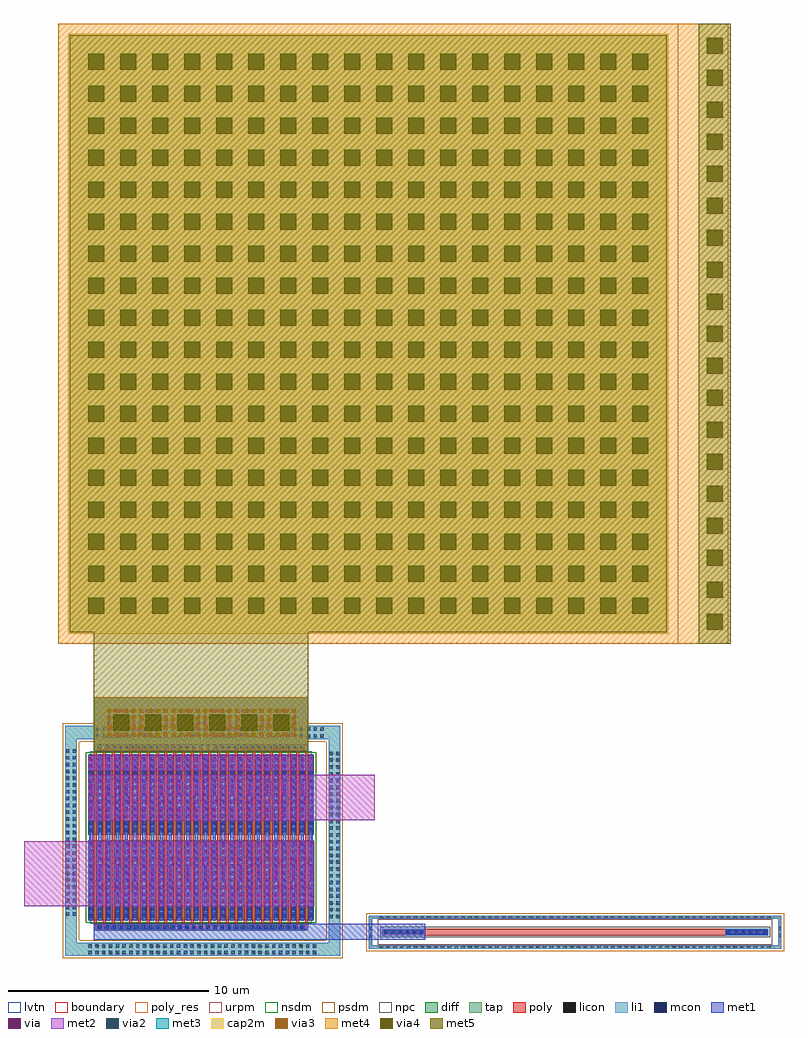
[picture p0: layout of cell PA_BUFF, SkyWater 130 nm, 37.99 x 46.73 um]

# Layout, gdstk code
from math import pi, radians
import gdstk
lib = gdstk.Library(unit=1e-6, precision=1e-09)
def R(c, l, rs):  # rectangles x0, y0, x1, y1
    for r in rs: c.add(gdstk.rectangle(r[:2], r[2:], *l))
def A(c, l, x, y, w, h, nx, ny, dx, dy):  # array of equal rectangles
    R(c, l, [(x+i*dx, y+j*dy, x+i*dx+w, y+j*dy+h) for i in range(nx) for j in range(ny)])
diff = (65, 20)
tap = (65, 44)
poly_res = (66, 13)
poly = (66, 20)
licon = (66, 44)
li1 = (67, 20)
mcon = (67, 44)
met1 = (68, 20)
via = (68, 44)
met2 = (69, 20)
via2 = (69, 44)
met3 = (70, 20)
via3 = (70, 44)
met4 = (71, 20)
via4 = (71, 44)
met5 = (72, 20)
urpm = (79, 20)
nsdm = (93, 44)
psdm = (94, 20)
npc = (95, 20)
cap2m = (97, 44)
lvtn = (125, 44)
boundary = (235, 4)

sky130_fd_pr__res_xhigh_ = lib.new_cell('sky130_fd_pr__res_xhigh_po_0p35_9FS993')
R(sky130_fd_pr__res_xhigh_, tap, [(-0.825,-10.31,0.825,-10.14), (-0.825,-10.14,-0.655,10.14), (0.655,-10.14,0.825,10.14), (-0.825,10.14,0.825,10.31)])
R(sky130_fd_pr__res_xhigh_, poly_res, [(-0.175,-7.56,0.175,7.56)])
R(sky130_fd_pr__res_xhigh_, poly, [(-0.175,-9.66,0.175,9.66)])
A(sky130_fd_pr__res_xhigh_, licon, -0.825, -9.775, 0.17, 0.17, 1, 58, 0, 0.34)
A(sky130_fd_pr__res_xhigh_, licon, 0.655, -9.775, 0.17, 0.17, 1, 58, 0, 0.34)
R(sky130_fd_pr__res_xhigh_, licon, [(-0.255,-10.31,-0.085,-10.14), (0.085,-10.31,0.255,-10.14), (-0.095,-9.58,0.095,-7.58), (-0.095,7.58,0.095,9.58), (-0.255,10.14,-0.085,10.31), (0.085,10.14,0.255,10.31)])
R(sky130_fd_pr__res_xhigh_, li1, [(-0.825,-10.31,0.825,-10.14), (-0.825,-10.14,-0.655,10.14), (0.655,-10.14,0.825,10.14), (-0.175,-9.66,0.175,-7.5), (-0.175,7.5,0.175,9.66), (-0.825,10.14,0.825,10.31)])
A(sky130_fd_pr__res_xhigh_, mcon, -0.085, -9.565, 0.17, 0.17, 1, 6, 0, 0.36)
A(sky130_fd_pr__res_xhigh_, mcon, -0.085, 7.59, 0.17, 0.17, 1, 6, 0, 0.36)
R(sky130_fd_pr__res_xhigh_, met1, [(-0.125,-9.63,0.125,-7.525), (-0.125,7.525,0.125,9.63)])
R(sky130_fd_pr__res_xhigh_, urpm, [(-0.635,-9.86,0.635,9.86)])
R(sky130_fd_pr__res_xhigh_, psdm, [(-0.95,-10.435,0.95,10.435)])
R(sky130_fd_pr__res_xhigh_, npc, [(-0.27,-9.755,0.27,9.755)])
R(sky130_fd_pr__res_xhigh_, boundary, [(-0.74,-10.225,0.74,10.225)])

sky130_fd_pr__nfet_01v8_ = lib.new_cell('sky130_fd_pr__nfet_01v8_lvt_BG9PLE')
R(sky130_fd_pr__nfet_01v8_, diff, [(-0.365,-2,0.365,2)])
R(sky130_fd_pr__nfet_01v8_, poly, [(-0.075,-2.13,0.075,2.13)])
A(sky130_fd_pr__nfet_01v8_, licon, -0.305, -1.785, 0.17, 0.17, 1, 11, 0, 0.34)
A(sky130_fd_pr__nfet_01v8_, licon, 0.135, -1.785, 0.17, 0.17, 1, 11, 0, 0.34)
R(sky130_fd_pr__nfet_01v8_, li1, [(-0.305,-2.02,-0.135,2.02), (0.135,-2.02,0.305,2.02)])
A(sky130_fd_pr__nfet_01v8_, mcon, -0.305, -1.885, 0.17, 0.17, 1, 11, 0, 0.36)
A(sky130_fd_pr__nfet_01v8_, mcon, 0.135, -1.885, 0.17, 0.17, 1, 11, 0, 0.36)
R(sky130_fd_pr__nfet_01v8_, met1, [(-0.335,-2,-0.105,2), (0.105,-2,0.335,2)])
R(sky130_fd_pr__nfet_01v8_, nsdm, [(-0.49,-2.125,0.49,2.125)])
R(sky130_fd_pr__nfet_01v8_, lvtn, [(-0.255,-2.18,0.255,2.18)])

sky130_fd_pr__cap_mim_m3 = lib.new_cell('sky130_fd_pr__cap_mim_m3_2_LJ5JLG')
R(sky130_fd_pr__cap_mim_m3, met4, [(-16.755,-15.5,16.755,15.5)])
A(sky130_fd_pr__cap_mim_m3, via4, 15.665, -14.8, 0.8, 0.8, 1, 19, 0, 1.6)
A(sky130_fd_pr__cap_mim_m3, via4, -15.255, -14, 0.8, 0.8, 18, 18, 1.6, 1.6)
R(sky130_fd_pr__cap_mim_m3, met5, [(15.265,-15.505,16.865,15.505), (-16.175,-14.92,13.665,14.92)])
R(sky130_fd_pr__cap_mim_m3, cap2m, [(-16.255,-15,13.745,15)])
R(sky130_fd_pr__cap_mim_m3, boundary, [(-16.755,-15.5,14.245,15.5)])

pa_buff = lib.new_cell('PA_BUFF')
R(pa_buff, diff, [(0,-4.14,11.285,-0.14)])
R(pa_buff, tap, [(-1.145,-5.93,12.6,-5.26), (-1.145,-5.26,-0.575,4.91), (12.03,-5.26,12.6,4.91), (-1.145,4.91,12.6,5.58)])
A(pa_buff, poly, 0.73, -4.33, 0.15, 4.46, 24, 1, 0.44, 0)
A(pa_buff, poly, 0.73, 4.13, 0.15, 0.19, 24, 1, 0.44, 0)
R(pa_buff, poly, [(0.29,-4.63,11,-4.33), (0.29,-4.33,0.44,0.055), (0.29,4.255,0.44,4.32), (0.29,4.32,11,4.62)])
A(pa_buff, licon, 0.015, -5.85, 0.17, 0.17, 34, 2, 0.34, 0.34)
A(pa_buff, licon, 0.455, -4.575, 0.17, 0.17, 31, 2, 0.34, 8.975)
A(pa_buff, licon, 12.06, -4.045, 0.17, 0.17, 1, 25, 0, 0.34)
A(pa_buff, licon, 12.4, -4.045, 0.17, 0.17, 1, 25, 0, 0.34)
A(pa_buff, licon, -1.115, -3.925, 0.17, 0.17, 1, 25, 0, 0.34)
A(pa_buff, licon, -0.775, -3.925, 0.17, 0.17, 1, 25, 0, 0.34)
A(pa_buff, licon, 0.06, -3.925, 0.17, 0.17, 26, 11, 0.44, 0.34)
A(pa_buff, licon, 0.39, 4.99, 0.17, 0.17, 34, 2, 0.34, 0.34)
A(pa_buff, li1, 0.06, -4.16, 0.17, 4.29, 26, 1, 0.44, 0)
R(pa_buff, li1, [(-1.145,-5.93,12.6,-5.26), (-1.145,-5.26,-0.575,4.91), (12.03,-5.26,12.6,4.91), (0.29,-4.63,11,-4.33), (0.29,4.32,11,4.62), (-1.145,4.91,12.6,5.58)])
A(pa_buff, mcon, 0.515, -4.575, 0.17, 0.17, 29, 2, 0.36, 8.975)
A(pa_buff, mcon, 0.06, -4.025, 0.17, 0.17, 26, 11, 0.44, 0.36)
A(pa_buff, met1, 0.03, -4.14, 0.23, 4, 13, 1, 0.88, 0)
A(pa_buff, met1, 0.47, -4.14, 0.23, 0.705, 13, 1, 0.88, 0)
A(pa_buff, met1, 0.425, -3.435, 0.32, 0.74, 13, 3, 0.88, 1.25)
A(pa_buff, met1, 0.47, -2.695, 0.23, 0.51, 13, 2, 0.88, 1.25)
A(pa_buff, met1, 0.47, -0.195, 0.23, 0.055, 13, 1, 0.88, 0)
A(pa_buff, met1, 0.06, -0.14, 0.17, 0.27, 26, 1, 0.44, 0)
A(pa_buff, met1, 0.06, 0.835, 0.26, 0.03, 13, 2, 0.88, 0.71)
A(pa_buff, met1, 0.03, 0.865, 0.29, 0.68, 13, 1, 0.88, 0)
A(pa_buff, met1, 0, 2.075, 0.32, 0.74, 13, 1, 0.88, 0)
A(pa_buff, met1, 0, 3.335, 0.32, 0.745, 13, 1, 0.88, 0)
R(pa_buff, met1, [(0.285,-5.125,16.855,-4.325), (0.28,4.32,11.005,7.015)])
A(pa_buff, via, 0.51, -3.3, 0.15, 0.15, 13, 2, 0.88, 0.32)
A(pa_buff, via, 0.51, -2.05, 0.15, 0.15, 13, 2, 0.88, 0.32)
A(pa_buff, via, 0.51, -0.8, 0.15, 0.15, 13, 2, 0.88, 0.32)
A(pa_buff, via, 0.085, 0.97, 0.15, 0.15, 13, 2, 0.88, 0.32)
A(pa_buff, via, 0.085, 2.21, 0.15, 0.15, 13, 2, 0.88, 0.32)
A(pa_buff, via, 0.085, 3.475, 0.15, 0.15, 13, 2, 0.88, 0.32)
A(pa_buff, via, 0.94, 5.01, 0.15, 0.15, 30, 5, 0.32, 0.32)
R(pa_buff, met2, [(-3.205,-3.435,11.305,-0.195), (0.06,0.835,11.23,0.86), (0,0.86,14.335,3.135), (0.06,3.335,11.23,3.37), (0,3.37,11.23,4.07), (0.28,4.32,11.005,7.015)])
A(pa_buff, via2, 0.955, 5.025, 0.2, 0.2, 24, 4, 0.4, 0.4)
R(pa_buff, met3, [(0.28,4.32,11.005,7.015)])
A(pa_buff, via3, 0.955, 5.025, 0.2, 0.2, 24, 4, 0.4, 0.4)
R(pa_buff, met4, [(0.28,4.32,11.005,7.015)])
A(pa_buff, via4, 1.255, 5.325, 0.8, 0.8, 6, 1, 1.6, 0)
R(pa_buff, met5, [(0.285,4.315,11.005,11.65)])
R(pa_buff, nsdm, [(-0.125,-4.265,11.41,0.005)])
R(pa_buff, psdm, [(-1.27,-6.055,12.725,-5.135), (-1.27,-5.135,-0.45,4.785), (11.905,-5.135,12.725,4.785), (-1.27,4.785,12.725,5.705)])
R(pa_buff, npc, [(0.355,-4.675,10.925,-4.305), (0.355,4.3,10.925,4.67)])
R(pa_buff, lvtn, [(0.11,-4.32,11.18,0.04)])
pa_buff.add(gdstk.Reference(sky130_fd_pr__res_xhigh_, (24.35,-4.735), rotation=3*pi/2))
pa_buff.add(gdstk.Reference(sky130_fd_pr__nfet_01v8_, (0.365,2.13)))
pa_buff.add(gdstk.Reference(sky130_fd_pr__nfet_01v8_, (0.805,2.13)))
pa_buff.add(gdstk.Reference(sky130_fd_pr__nfet_01v8_, (1.245,2.13)))
pa_buff.add(gdstk.Reference(sky130_fd_pr__nfet_01v8_, (1.685,2.13)))
pa_buff.add(gdstk.Reference(sky130_fd_pr__nfet_01v8_, (2.125,2.13)))
pa_buff.add(gdstk.Reference(sky130_fd_pr__nfet_01v8_, (2.565,2.13)))
pa_buff.add(gdstk.Reference(sky130_fd_pr__nfet_01v8_, (3.005,2.13)))
pa_buff.add(gdstk.Reference(sky130_fd_pr__nfet_01v8_, (3.445,2.13)))
pa_buff.add(gdstk.Reference(sky130_fd_pr__nfet_01v8_, (3.885,2.13)))
pa_buff.add(gdstk.Reference(sky130_fd_pr__nfet_01v8_, (4.325,2.13)))
pa_buff.add(gdstk.Reference(sky130_fd_pr__nfet_01v8_, (4.765,2.13)))
pa_buff.add(gdstk.Reference(sky130_fd_pr__nfet_01v8_, (5.645,2.13)))
pa_buff.add(gdstk.Reference(sky130_fd_pr__nfet_01v8_, (5.205,2.13)))
pa_buff.add(gdstk.Reference(sky130_fd_pr__nfet_01v8_, (6.085,2.13)))
pa_buff.add(gdstk.Reference(sky130_fd_pr__nfet_01v8_, (6.525,2.13)))
pa_buff.add(gdstk.Reference(sky130_fd_pr__nfet_01v8_, (7.405,2.13)))
pa_buff.add(gdstk.Reference(sky130_fd_pr__nfet_01v8_, (6.965,2.13)))
pa_buff.add(gdstk.Reference(sky130_fd_pr__nfet_01v8_, (8.285,2.13)))
pa_buff.add(gdstk.Reference(sky130_fd_pr__nfet_01v8_, (7.845,2.13)))
pa_buff.add(gdstk.Reference(sky130_fd_pr__nfet_01v8_, (8.725,2.13)))
pa_buff.add(gdstk.Reference(sky130_fd_pr__nfet_01v8_, (9.165,2.13)))
pa_buff.add(gdstk.Reference(sky130_fd_pr__nfet_01v8_, (10.045,2.13)))
pa_buff.add(gdstk.Reference(sky130_fd_pr__nfet_01v8_, (9.605,2.13)))
pa_buff.add(gdstk.Reference(sky130_fd_pr__nfet_01v8_, (10.925,2.13)))
pa_buff.add(gdstk.Reference(sky130_fd_pr__nfet_01v8_, (10.485,2.13)))
pa_buff.add(gdstk.Reference(sky130_fd_pr__cap_mim_m3, (15.25,25.175)))

lib.write_gds('PA_BUFF.gds')
